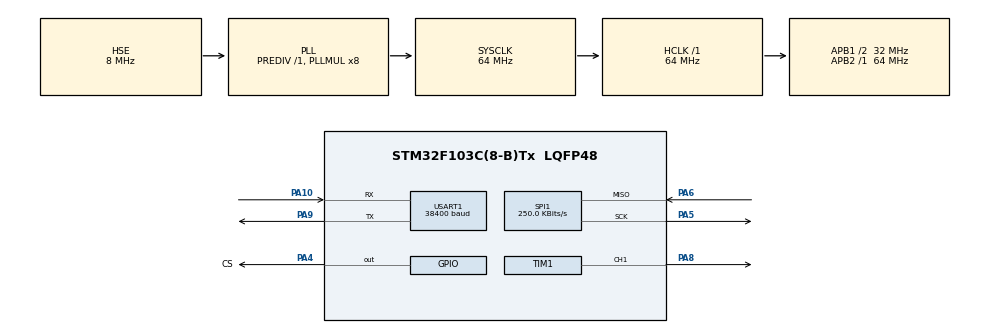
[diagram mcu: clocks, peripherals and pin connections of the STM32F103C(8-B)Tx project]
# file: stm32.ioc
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Mcu.Family=STM32F1
Mcu.Name=STM32F103C(8-B)Tx
Mcu.Package=LQFP48
NVIC.PriorityGroup=NVIC_PRIORITYGROUP_4
NVIC.TIM4_IRQn=true\:1\:0\:true\:false\:true\:true\:true\:true
NVIC.USART1_IRQn=true\:0\:0\:false\:false\:true\:true\:true\:true
PA10.Mode=Asynchronous
PA10.Signal=USART1_RX
PA13.Mode=Serial_Wire
PA13.Signal=SYS_JTMS-SWDIO
PA14.Mode=Serial_Wire
PA14.Signal=SYS_JTCK-SWCLK
PA4.GPIO_Label=CS
PA4.Signal=GPIO_Output
PA5.Mode=RX_Only_Simplex_Unidirect_Master
PA5.Signal=SPI1_SCK
PA6.Mode=RX_Only_Simplex_Unidirect_Master
PA6.Signal=SPI1_MISO
PA8.Signal=S_TIM1_CH1
PA9.Mode=Asynchronous
PA9.Signal=USART1_TX
PD0-OSC_IN.Mode=HSE-External-Oscillator
PD0-OSC_IN.Signal=RCC_OSC_IN
PD1-OSC_OUT.Mode=HSE-External-Oscillator
PD1-OSC_OUT.Signal=RCC_OSC_OUT
ProjectManager.HeapSize=0x200
ProjectManager.StackSize=0x400
ProjectManager.TargetToolchain=STM32CubeIDE
RCC.AHBFreq_Value=64000000
RCC.APB1CLKDivider=RCC_HCLK_DIV2
RCC.APB1Freq_Value=32000000
RCC.APB1TimFreq_Value=64000000
RCC.APB2Freq_Value=64000000
RCC.APB2TimFreq_Value=64000000
RCC.HCLKFreq_Value=64000000
RCC.PLLMUL=RCC_PLL_MUL8
RCC.PLLSourceVirtual=RCC_PLLSOURCE_HSE
RCC.SYSCLKFreq_VALUE=64000000
RCC.SYSCLKSource=RCC_SYSCLKSOURCE_PLLCLK
RCC.USBFreq_Value=64000000
SH.S_TIM1_CH1.0=TIM1_CH1,PWM Generation1 CH1
SPI1.BaudRatePrescaler=SPI_BAUDRATEPRESCALER_256
SPI1.CLKPhase=SPI_PHASE_2EDGE
SPI1.CalculateBaudRate=250.0 KBits/s
SPI1.DataSize=SPI_DATASIZE_16BIT
SPI1.Direction=SPI_DIRECTION_2LINES_RXONLY
SPI1.Mode=SPI_MODE_MASTER
SPI1.VirtualType=VM_MASTER
TIM1.Channel-PWM\ Generation1\ CH1=TIM_CHANNEL_1
TIM1.OCMode_PWM-PWM\ Generation1\ CH1=TIM_OCMODE_PWM2
TIM1.OCPolarity_1=TIM_OCPOLARITY_LOW
TIM1.Period=1000
TIM1.Prescaler=32000
TIM4.Period=500
TIM4.Prescaler=64000
USART1.BaudRate=38400
USART1.VirtualMode=VM_ASYNC
VP_TIM4_VS_ClockSourceINT.Mode=Internal
board=custom

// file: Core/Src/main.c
/* USER CODE BEGIN Header */
/**
 ******************************************************************************
 * @file           : main.c
 * @brief          : Main program body
 ******************************************************************************
 * @attention
 *
 * <h2><center>&copy; Copyright (c) 2021 STMicroelectronics.
 * All rights reserved.</center></h2>
 *
 * This software component is licensed by ST under BSD 3-Clause license,
 * the "License"; You may not use this file except in compliance with the
 * License. You may obtain a copy of the License at:
 *                        opensource.org/licenses/BSD-3-Clause
 *
 ******************************************************************************
 */
/* USER CODE END Header */
#include "main.h"

/* USER CODE BEGIN Includes */
#include "globVars.h"

/* USER CODE END Includes */

SPI_HandleTypeDef hspi1;

TIM_HandleTypeDef htim1;
TIM_HandleTypeDef htim4;

UART_HandleTypeDef huart1;

void SystemClock_Config(void);
static void MX_GPIO_Init(void);
static void MX_SPI1_Init(void);
static void MX_TIM4_Init(void);
static void MX_TIM1_Init(void);
static void MX_USART1_UART_Init(void);

/* USER CODE BEGIN 0 */
// must match with defined storage size expressed in globalVars header,
//ReflowTemplate
uint8_t data[2];
uint8_t ReflowCurve[4000];
float temp;
float duty;
uint32_t data_flash[] = { 400, 200, 0, 50, 900, 2 };
arm_pid_instance_f32 PID;
ReflowTemplate ReflowParameters;
uint8_t ReflowEnable = 0;
uint16_t ReflowIndex = 0;
float32_t debug = 0;
uint8_t Cmd_End[] = { 0xFF, 0xFF, 0xFF };
uint8_t UART_Recieved_Data[5] = { 'p', '0', 'x', 'x', 'x' };
uint8_t UART_Recieved_Flag = 0;
char input[20];
uint16_t PhaseIndex[] = { 0, 0, 0, 0, 0 };
char ConsoleMSG[20];
uint8_t TempDrawEnable = 0;
uint32_t TempDrawCounter = 0;

uint8_t test2[5] = { 'p', '0', 'x', 'x', 'x' };

void HAL_TIM_PeriodElapsedCallback(TIM_HandleTypeDef *htim) {

	TempDrawCounter++;

	if (htim == &htim4) {
		//Thermocouple alle 500ms auslesen: | Thermocouple every 500 ms
		HAL_GPIO_WritePin(CS_GPIO_Port, CS_Pin, 0);
		HAL_SPI_Receive(&hspi1, data, 2, 100);
		HAL_GPIO_WritePin(CS_GPIO_Port, CS_Pin, 1);
		temp = ((((uint16_t) data[1] << 8) | data[2]) >> 3) * 0.249;

		//Reflow Prozess Einleiten: | Initiating the reflow process
		if (ReflowEnable == 1) { ///@change

			if (ReflowIndex == PhaseIndex[0])
				sprintf(ConsoleMSG, "HEAT UP");
			if (ReflowIndex == PhaseIndex[1])
				sprintf(ConsoleMSG, "SOAK");
			if (ReflowIndex == PhaseIndex[2])
				sprintf(ConsoleMSG, "HEAT UP");
			if (ReflowIndex == PhaseIndex[3])
				sprintf(ConsoleMSG, "REFLOW");
			if (ReflowIndex == PhaseIndex[4])
				sprintf(ConsoleMSG, "COOL DOWN");

			//Regelabweichung | Deviation from reflow patterm
			float pid_error = ReflowCurve[ReflowIndex + 1] - temp;
			//Stellgroesse | Manipulated Variable
			duty = arm_pid_f32(&PID, pid_error);

			//Stellgrößenbegrenzung und Anti-Wind-UP (update 27.03.2021)
			//Control variable limitation (Strong limits) and anti-windup
			if (duty > 1000) {
				duty = 1000;
				PID.Ki = 0;
			} else if (duty < 0) {
				duty = 0;
			} else {
				PID.Ki = ReflowParameters.Ki;
			}

			//Dutycycle Anpassen | Customize Dutycycle
			htim1.Instance->CCR1 = (uint16_t) duty;

			ReflowIndex++;
			//Abbruchbedingung | Cancel Condition
			if (ReflowIndex == PhaseIndex[4]) {
				sprintf(ConsoleMSG, "FINISHED");
				ReflowEnable = 0;
			}
		} else {
			ReflowIndex = 0;
			//Dutycycle = 0
			htim1.Instance->CCR1 = 0;
		}
	}
}
/* USER CODE END 0 */

int main(void)
{
  /* USER CODE BEGIN 1 */

	setReflowParameters();
	Flash_Read_Data(0x0801FC00, &ReflowParameters); //ignore warning for now. see system documentation
	calculateReflowCurve();

	PID.Kp = ReflowParameters.KP;
	PID.Ki = ReflowParameters.Ki;
	PID.Kd = ReflowParameters.KD;

	arm_pid_init_f32(&PID, 1);

  /* USER CODE END 1 */

  /* MCU Configuration--------------------------------------------------------*/

  /* Reset of all peripherals, Initializes the Flash interface and the Systick. */
  HAL_Init();

  /* Configure the system clock */
  SystemClock_Config();

  /* Initialize all configured peripherals */
  MX_GPIO_Init();
  MX_SPI1_Init();
  MX_TIM4_Init();
  MX_TIM1_Init();
  MX_USART1_UART_Init();
  /* USER CODE BEGIN 2 */
	HAL_TIM_Base_Start_IT(&htim4);
	HAL_TIM_PWM_Start(&htim1, TIM_CHANNEL_1);

	htim1.Instance->CCR1 = 10;

	HAL_Delay(2000);
	HAL_UART_Receive_IT(&huart1, UART_Recieved_Data, 5);
	sprintf(ConsoleMSG, "IDLE");
	Update_Page_0();
	Draw_Reflow_Curve();
	HAL_UART_Receive_IT(&huart1, UART_Recieved_Data, 5);

  /* USER CODE END 2 */

  /* Infinite loop */
	while (1) {

    /* USER CODE BEGIN 3 */
		HandleGui();
		HAL_Delay(500);
		if (strncmp((char*) UART_Recieved_Data, "p0xxx", 5) == 0) {
			debug = 5;
		}
	}
  /* USER CODE END 3 */
}

void SystemClock_Config(void)
{
  RCC_OscInitTypeDef RCC_OscInitStruct = {0};
  RCC_ClkInitTypeDef RCC_ClkInitStruct = {0};

  /** Initializes the RCC Oscillators according to the specified parameters
  * in the RCC_OscInitTypeDef structure.
  */
  RCC_OscInitStruct.OscillatorType = RCC_OSCILLATORTYPE_HSE;
  RCC_OscInitStruct.HSEState = RCC_HSE_ON;
  RCC_OscInitStruct.HSEPredivValue = RCC_HSE_PREDIV_DIV1;
  RCC_OscInitStruct.HSIState = RCC_HSI_ON;
  RCC_OscInitStruct.PLL.PLLState = RCC_PLL_ON;
  RCC_OscInitStruct.PLL.PLLSource = RCC_PLLSOURCE_HSE;
  RCC_OscInitStruct.PLL.PLLMUL = RCC_PLL_MUL8;
  if (HAL_RCC_OscConfig(&RCC_OscInitStruct) != HAL_OK)
  {
    Error_Handler();
  }

  /** Initializes the CPU, AHB and APB buses clocks
  */
  RCC_ClkInitStruct.ClockType = RCC_CLOCKTYPE_HCLK|RCC_CLOCKTYPE_SYSCLK
                              |RCC_CLOCKTYPE_PCLK1|RCC_CLOCKTYPE_PCLK2;
  RCC_ClkInitStruct.SYSCLKSource = RCC_SYSCLKSOURCE_PLLCLK;
  RCC_ClkInitStruct.AHBCLKDivider = RCC_SYSCLK_DIV1;
  RCC_ClkInitStruct.APB1CLKDivider = RCC_HCLK_DIV2;
  RCC_ClkInitStruct.APB2CLKDivider = RCC_HCLK_DIV1;

  if (HAL_RCC_ClockConfig(&RCC_ClkInitStruct, FLASH_LATENCY_2) != HAL_OK)
  {
    Error_Handler();
  }
}

static void MX_SPI1_Init(void)
{

  /* SPI1 parameter configuration*/
  hspi1.Instance = SPI1;
  hspi1.Init.Mode = SPI_MODE_MASTER;
  hspi1.Init.Direction = SPI_DIRECTION_2LINES_RXONLY;
  hspi1.Init.DataSize = SPI_DATASIZE_16BIT;
  hspi1.Init.CLKPolarity = SPI_POLARITY_LOW;
  hspi1.Init.CLKPhase = SPI_PHASE_2EDGE;
  hspi1.Init.NSS = SPI_NSS_SOFT;
  hspi1.Init.BaudRatePrescaler = SPI_BAUDRATEPRESCALER_256;
  hspi1.Init.FirstBit = SPI_FIRSTBIT_MSB;
  hspi1.Init.TIMode = SPI_TIMODE_DISABLE;
  hspi1.Init.CRCCalculation = SPI_CRCCALCULATION_DISABLE;
  hspi1.Init.CRCPolynomial = 10;
  if (HAL_SPI_Init(&hspi1) != HAL_OK)
  {
    Error_Handler();
  }

}

static void MX_TIM1_Init(void)
{

  TIM_MasterConfigTypeDef sMasterConfig = {0};
  TIM_OC_InitTypeDef sConfigOC = {0};
  TIM_BreakDeadTimeConfigTypeDef sBreakDeadTimeConfig = {0};

  htim1.Instance = TIM1;
  htim1.Init.Prescaler = 32000;
  htim1.Init.CounterMode = TIM_COUNTERMODE_UP;
  htim1.Init.Period = 1000;
  htim1.Init.ClockDivision = TIM_CLOCKDIVISION_DIV1;
  htim1.Init.RepetitionCounter = 0;
  htim1.Init.AutoReloadPreload = TIM_AUTORELOAD_PRELOAD_DISABLE;
  if (HAL_TIM_PWM_Init(&htim1) != HAL_OK)
  {
    Error_Handler();
  }
  sMasterConfig.MasterOutputTrigger = TIM_TRGO_RESET;
  sMasterConfig.MasterSlaveMode = TIM_MASTERSLAVEMODE_DISABLE;
  if (HAL_TIMEx_MasterConfigSynchronization(&htim1, &sMasterConfig) != HAL_OK)
  {
    Error_Handler();
  }
  sConfigOC.OCMode = TIM_OCMODE_PWM2;
  sConfigOC.Pulse = 0;
  sConfigOC.OCPolarity = TIM_OCPOLARITY_LOW;
  sConfigOC.OCNPolarity = TIM_OCNPOLARITY_HIGH;
  sConfigOC.OCFastMode = TIM_OCFAST_DISABLE;
  sConfigOC.OCIdleState = TIM_OCIDLESTATE_RESET;
  sConfigOC.OCNIdleState = TIM_OCNIDLESTATE_RESET;
  if (HAL_TIM_PWM_ConfigChannel(&htim1, &sConfigOC, TIM_CHANNEL_1) != HAL_OK)
  {
    Error_Handler();
  }
  sBreakDeadTimeConfig.OffStateRunMode = TIM_OSSR_DISABLE;
  sBreakDeadTimeConfig.OffStateIDLEMode = TIM_OSSI_DISABLE;
  sBreakDeadTimeConfig.LockLevel = TIM_LOCKLEVEL_OFF;
  sBreakDeadTimeConfig.DeadTime = 0;
  sBreakDeadTimeConfig.BreakState = TIM_BREAK_DISABLE;
  sBreakDeadTimeConfig.BreakPolarity = TIM_BREAKPOLARITY_HIGH;
  sBreakDeadTimeConfig.AutomaticOutput = TIM_AUTOMATICOUTPUT_DISABLE;
  if (HAL_TIMEx_ConfigBreakDeadTime(&htim1, &sBreakDeadTimeConfig) != HAL_OK)
  {
    Error_Handler();
  }
  HAL_TIM_MspPostInit(&htim1);

}

static void MX_TIM4_Init(void)
{

  TIM_ClockConfigTypeDef sClockSourceConfig = {0};
  TIM_MasterConfigTypeDef sMasterConfig = {0};

  htim4.Instance = TIM4;
  htim4.Init.Prescaler = 64000;
  htim4.Init.CounterMode = TIM_COUNTERMODE_UP;
  htim4.Init.Period = 500;
  htim4.Init.ClockDivision = TIM_CLOCKDIVISION_DIV1;
  htim4.Init.AutoReloadPreload = TIM_AUTORELOAD_PRELOAD_DISABLE;
  if (HAL_TIM_Base_Init(&htim4) != HAL_OK)
  {
    Error_Handler();
  }
  sClockSourceConfig.ClockSource = TIM_CLOCKSOURCE_INTERNAL;
  if (HAL_TIM_ConfigClockSource(&htim4, &sClockSourceConfig) != HAL_OK)
  {
    Error_Handler();
  }
  sMasterConfig.MasterOutputTrigger = TIM_TRGO_RESET;
  sMasterConfig.MasterSlaveMode = TIM_MASTERSLAVEMODE_DISABLE;
  if (HAL_TIMEx_MasterConfigSynchronization(&htim4, &sMasterConfig) != HAL_OK)
  {
    Error_Handler();
  }

}

static void MX_USART1_UART_Init(void)
{

  huart1.Instance = USART1;
  huart1.Init.BaudRate = 38400;
  huart1.Init.WordLength = UART_WORDLENGTH_8B;
  huart1.Init.StopBits = UART_STOPBITS_1;
  huart1.Init.Parity = UART_PARITY_NONE;
  huart1.Init.Mode = UART_MODE_TX_RX;
  huart1.Init.HwFlowCtl = UART_HWCONTROL_NONE;
  huart1.Init.OverSampling = UART_OVERSAMPLING_16;
  if (HAL_UART_Init(&huart1) != HAL_OK)
  {
    Error_Handler();
  }

}

static void MX_GPIO_Init(void)
{
  GPIO_InitTypeDef GPIO_InitStruct = {0};

  /* GPIO Ports Clock Enable */
  __HAL_RCC_GPIOD_CLK_ENABLE();
  __HAL_RCC_GPIOA_CLK_ENABLE();

  /*Configure GPIO pin Output Level */
  HAL_GPIO_WritePin(CS_GPIO_Port, CS_Pin, GPIO_PIN_RESET);

  /*Configure GPIO pin : CS_Pin */
  GPIO_InitStruct.Pin = CS_Pin;
  GPIO_InitStruct.Mode = GPIO_MODE_OUTPUT_PP;
  GPIO_InitStruct.Pull = GPIO_NOPULL;
  GPIO_InitStruct.Speed = GPIO_SPEED_FREQ_LOW;
  HAL_GPIO_Init(CS_GPIO_Port, &GPIO_InitStruct);

}

void Error_Handler(void)
{
	__disable_irq();
	while (1) {
	}
}
